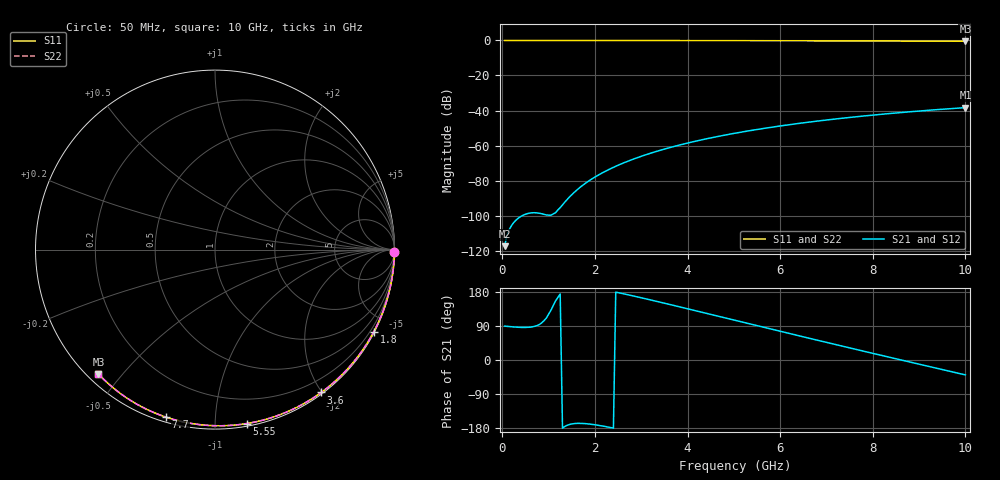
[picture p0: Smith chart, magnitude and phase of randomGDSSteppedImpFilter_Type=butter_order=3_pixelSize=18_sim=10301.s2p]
! freq	dB(S11)	phase(S11)	dB(S12)	phase(S12)
!  dB(S21)	phase(S21)	dB(S22)	phase(S22)
!S-par simulation data
#  GHz  S  DB  R 50
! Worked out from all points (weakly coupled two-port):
!   200 points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, 50 MHz to 10 GHz, reference 50 ohm
!   highest |S21| = -38.34 dB at 10 GHz (marker M1); lowest = -117.4 dB at 50 MHz (marker M2)
!   lowest |S11| = -0.4 dB at 10 GHz (marker M3), VSWR 38.72, Z = 1.53 - j21.6 ohm
!   |S11| at or under -10 dB: nowhere
!   |S22| runs from -0.4 to 0.0 dB; largest |S21 - S12| = 0
!   S11 on the Smith chart (normalised r, x): 50 MHz: open; 1.8 GHz: 0.04, -4.12; 3.6 GHz: 0.02, -1.99; 5.55 GHz: 0.02, -1.20; 7.7 GHz: 0.02, -0.75; 10 GHz: 0.03, -0.43
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0.05  -0.00 -0.8  -117.43 89.4  -117.43 89.4  -0.00 -0.8
0.9  -0.02 -13.8  -99.27 103.7  -99.27 103.7  -0.02 -13.8
1.75  -0.03 -26.6  -82.39 -167.6  -82.39 -167.6  -0.03 -26.6
1.8  -0.03 -27.3  -81.42 -168.0  -81.42 -168.0  -0.03 -27.3
1.85  -0.04 -28.0  -80.51 -168.6  -80.51 -168.6  -0.04 -28.0
1.9  -0.04 -28.8  -79.63 -169.2  -79.63 -169.2  -0.04 -28.8
2.05  -0.04 -31.0  -77.19 -171.8  -77.19 -171.8  -0.04 -31.0
2.25  -0.04 -34.0  -74.34 -176.1  -74.34 -176.1  -0.04 -34.0
2.45  -0.05 -36.9  -71.82 179.1  -71.82 179.1  -0.05 -36.9
2.65  -0.05 -39.8  -69.57 173.9  -69.57 173.9  -0.05 -39.8
3  -0.06 -44.8  -66.13 164.3  -66.13 164.3  -0.06 -44.8
3.4  -0.07 -50.5  -62.77 152.8  -62.77 152.8  -0.07 -50.5
3.6  -0.07 -53.4  -61.28 147.0  -61.28 147.0  -0.07 -53.4
4.3  -0.09 -63.1  -56.76 126.3  -56.76 126.3  -0.09 -63.1
5.05  -0.11 -73.1  -52.83 104.0  -52.83 104.0  -0.11 -73.1
5.55  -0.13 -79.7  -50.61 89.2  -50.61 89.2  -0.13 -79.7
6.1  -0.15 -86.7  -48.44 72.9  -48.44 72.9  -0.15 -86.7
6.7  -0.18 -94.2  -46.36 55.2  -46.36 55.2  -0.18 -94.2
7.7  -0.24 -106.4  -43.40 26.2  -43.40 26.2  -0.24 -106.4
8.35  -0.29 -114.1  -41.75 7.5  -41.75 7.5  -0.29 -114.1
9.15  -0.36 -123.4  -39.97 -15.3  -39.97 -15.3  -0.36 -123.4
10  -0.45 -133.1  -38.34 -39.3  -38.34 -39.3  -0.45 -133.2
